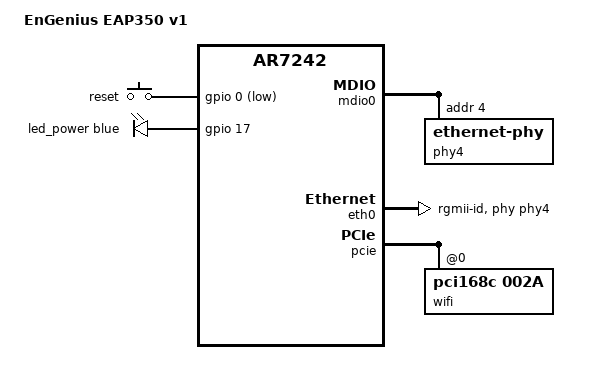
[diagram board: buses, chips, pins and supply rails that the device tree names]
// SPDX-License-Identifier: GPL-2.0-or-later OR MIT

#include "ar7242.dtsi"
#include "ar724x_senao_loader-4k.dtsi"

#include <dt-bindings/gpio/gpio.h>
#include <dt-bindings/input/input.h>
#include <dt-bindings/leds/common.h>

/ {
	compatible = "engenius,eap350-v1", "qca,ar7242";
	model = "EnGenius EAP350 v1";

	aliases {
		label-mac-device = &eth0;
		led-boot = &led_power;
		led-failsafe = &led_power;
		led-running = &led_power;
		led-upgrade = &led_power;
	};

	keys {
		compatible = "gpio-keys";

		reset {
			label = "reset";
			gpios = <&gpio 0 GPIO_ACTIVE_LOW>;
			debounce-interval = <60>;
			linux,code = <KEY_RESTART>;
		};
	};

	leds {
		compatible = "gpio-leds";

		led_power: power {
			function = LED_FUNCTION_POWER;
			color = <LED_COLOR_ID_BLUE>;
			gpios = <&gpio 17 GPIO_ACTIVE_HIGH>;
			default-state = "on";
		};
	};
};

&mdio0 {
	status = "okay";

	phy4: ethernet-phy@4 {
		reg = <4>;
		eee-broken-100tx;
		eee-broken-1000t;
	};
};

&eth0 {
	status = "okay";

	nvmem-cells = <&macaddr_art_0 0>;
	nvmem-cell-names = "mac-address";

	phy-handle = <&phy4>;
	phy-mode = "rgmii-id";

	pll-data = <0x02000000 0x00000101 0x00001313>;
};

&pcie {
	status = "okay";

	wifi@0,0 {
		compatible = "pci168c,002a";
		reg = <0x0 0 0 0 0>;
		nvmem-cells = <&cal_art_1000>, <&macaddr_art_0 1>;
		nvmem-cell-names = "calibration", "mac-address";

		led {
			led-sources = <1>;
			led-active-low;
		};
	};
};

&art {
	nvmem-layout {
		compatible = "fixed-layout";
		#address-cells = <1>;
		#size-cells = <1>;

		macaddr_art_0: macaddr@0 {
			compatible = "mac-base";
			reg = <0x0 0x6>;
			#nvmem-cell-cells = <1>;
		};

		cal_art_1000: calibration@1000 {
			reg = <0x1000 0xeb8>;
		};
	};
};
